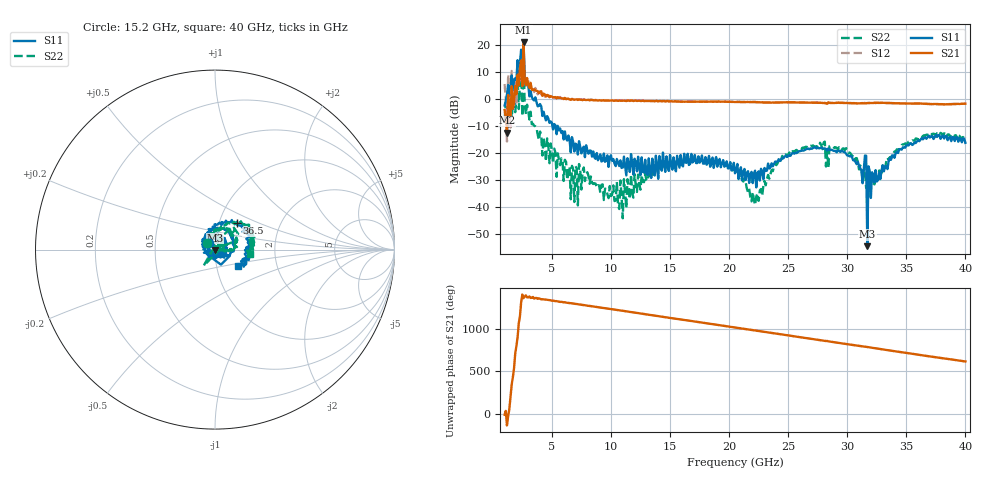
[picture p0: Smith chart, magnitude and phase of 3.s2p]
!Keysight Technologies,N5224A,MY55441802,A.10.65.16
!Date: Wednesday, May 13, 2026 18:36:04
!Correction: S11(Full 2 Port(1,2))
!S21(Full 2 Port(1,2))
!S12(Full 2 Port(1,2))
!S22(Full 2 Port(1,2))
!S2P File: Measurements: S11, S21, S12, S22:
# Hz S  dB  R 50
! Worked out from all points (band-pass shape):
!   391 points, 1 GHz to 40 GHz, reference 50 ohm
!   highest |S21| = 21.16 dB at 2.6 GHz (marker M1); lowest = -12.4 dB at 1.2 GHz (marker M2)
!   |S21| within 3 dB of the highest: 2.582 GHz to 2.621 GHz (39.6 MHz wide, 1.52 % of centre)
!   lowest |S11| = -54.5 dB at 31.7 GHz (marker M3), VSWR 1.00, Z = 50.1 - j0.174 ohm
!   |S11| at or under -10 dB: 5.051 GHz to 5.162 GHz (110.4 MHz wide, 2.16 % of centre); 5.31 GHz to 5.496 GHz (186.5 MHz wide, 3.45 % of centre); 5.507 GHz to end of sweep
!   |S22| runs from -44.1 to 14.5 dB; largest |S21 - S12| = 4.5
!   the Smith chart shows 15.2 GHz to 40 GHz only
!   S11 on the Smith chart (normalised r, x): 15.2 GHz: 0.93, +0.07; 36.5 GHz: 1.21, +0.37; 40 GHz: 1.26, -0.23
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1e9  -2.35 -78.7  -4.05 -15.0  5.61 -12.2  -8.02 -77.4
1.2e9  1.73 0.6  -12.41 -140.8  -15.70 -77.9  -0.42 -26.7
1.7e9  3.40 164.6  -3.58 69.4  -2.30 19.7  -2.05 37.2
1.9e9  7.65 -36.2  4.86 -11.9  8.60 -11.5  -4.84 52.8
2e9  6.98 162.7  1.80 75.1  -1.24 38.3  0.41 24.3
2.1e9  14.43 -1.9  9.04 179.4  8.72 174.4  7.66 -25.0
2.3e9  13.58 142.5  11.45 68.3  6.43 49.3  7.08 6.9
2.4e9  18.32 50.0  14.34 -128.9  14.71 -133.8  10.44 25.9
2.5e9  5.50 -65.8  4.84 -38.1  6.57 -40.4  -6.25 13.9
2.6e9  21.74 -16.7  21.16 -81.3  16.94 -86.5  14.54 -157.2
2.7e9  7.87 121.2  7.02 -61.3  8.15 -66.1  -1.94 102.0
2.8e9  5.08 -76.7  5.19 -47.2  6.54 -49.7  -5.52 -5.2
3e9  5.33 112.8  5.45 -70.6  6.71 -72.1  -4.51 87.9
7.5e9  -20.07 -10.5  -0.24 -158.9  -0.14 -158.3  -33.46 27.5
1.4e10  -29.51 142.8  -0.83 67.2  -0.79 67.2  -26.65 179.4
1.52e10  -26.09 131.8  -0.86 42.4  -0.84 42.4  -24.93 143.0
2.05e10  -27.46 7.3  -1.08 -67.1  -0.98 -67.3  -26.85 42.8
2.7e10  -18.39 74.5  -1.30 158.7  -1.27 158.3  -17.36 59.5
3.17e10  -54.46 -66.9  -1.45 63.5  -1.43 62.7  -30.66 -2.5
3.35e10  -23.10 132.4  -1.43 24.7  -1.41 24.4  -22.48 80.2
3.65e10  -14.40 50.6  -1.69 -37.3  -1.71 -37.7  -13.40 47.5
4e10  -16.19 -35.8  -1.67 -107.0  -1.69 -107.7  -14.11 -7.7
